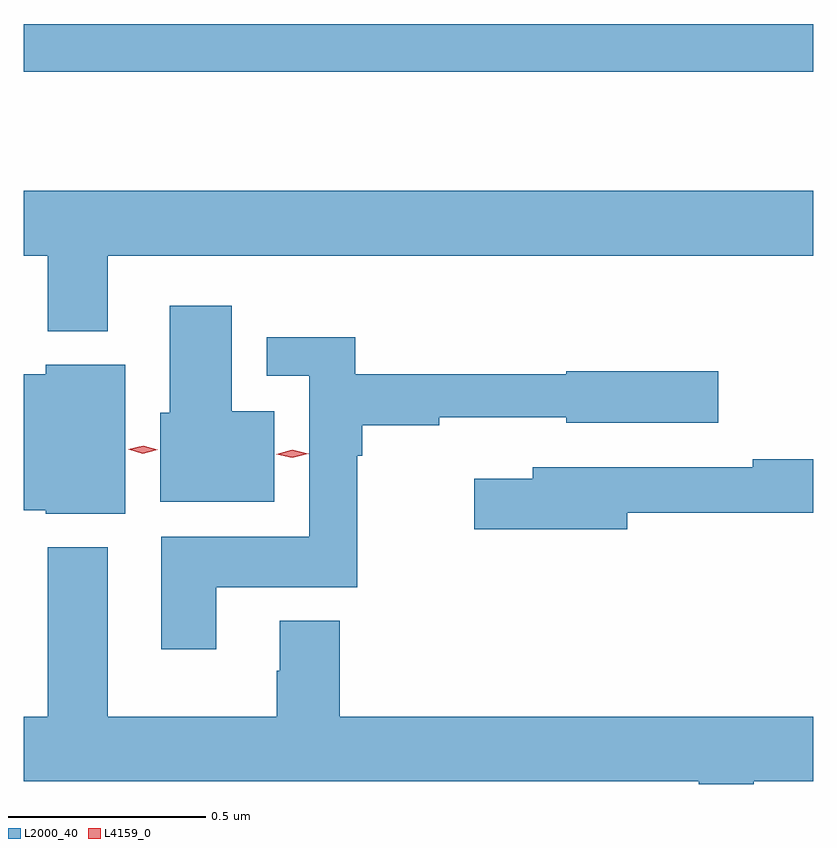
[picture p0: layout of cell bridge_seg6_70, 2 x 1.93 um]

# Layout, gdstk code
import gdstk
lib = gdstk.Library(unit=1e-6, precision=1e-09)
def R(c, l, rs):  # rectangles x0, y0, x1, y1
    for r in rs: c.add(gdstk.rectangle(r[:2], r[2:], *l))
def P(c, l, *ps):  # polygons
    for p in ps: c.add(gdstk.Polygon(p, *l))
L2000_40 = (2000, 40)
L4159_0 = (4159, 0)

bridge_seg6_70 = lib.new_cell('bridge_seg6_70')
R(bridge_seg6_70, L2000_40, [(863.939,963.786,865.939,963.907)])
P(bridge_seg6_70, L2000_40, [(864.151,963.32),(865.939,963.32),(865.939,963.484),(863.939,963.484),(863.939,963.32),(863.999,963.32),(863.999,963.128),(864.151,963.128)],
  [(864.574,962.926),(864.466,962.926),(864.466,963.193),(864.308,963.193),(864.308,962.922),(864.284,962.922),(864.284,962.696),(864.574,962.696)],
  [(864.427,962.48),(864.784,962.48),(864.784,962.813),(864.797,962.813),(864.797,962.89),(864.992,962.89),(864.992,962.91),(865.314,962.91),(865.314,962.897),(865.699,962.897),(865.699,963.027),(865.314,963.027),(865.314,963.019),(864.779,963.019),(864.779,963.113),(864.555,963.113),(864.555,963.015),(864.662,963.015),(864.662,962.608),(864.287,962.608),(864.287,962.322),(864.427,962.322)],
  [(864.196,963.043),(863.994,963.043),(863.994,963.019),(863.939,963.019),(863.939,962.675),(863.994,962.675),(863.994,962.666),(864.196,962.666)],
  [(865.468,962.668),(865.939,962.668),(865.939,962.804),(865.786,962.804),(865.786,962.784),(865.229,962.784),(865.229,962.755),(865.08,962.755),(865.08,962.626),(865.468,962.626)],
  [(865.789,961.988),(865.939,961.988),(865.939,962.152),(864.74,962.152),(864.74,962.395),(864.587,962.395),(864.587,962.268),(864.58,962.268),(864.58,962.152),(864.151,962.152),(864.151,962.581),(863.999,962.581),(863.999,962.152),(863.939,962.152),(863.939,961.988),(865.649,961.988),(865.649,961.981),(865.789,961.981)])
P(bridge_seg6_70, L4159_0, [(864.619,962.808),(864.578,962.817),(864.578,962.817),(864.578,962.817),(864.619,962.828),(864.66,962.818),(864.661,962.818),(864.66,962.818)],
  [(864.24,962.818),(864.204,962.829),(864.203,962.829),(864.204,962.829),(864.241,962.838),(864.278,962.828),(864.278,962.828),(864.278,962.828)])

lib.write_gds('bridge_seg6_70.gds')
